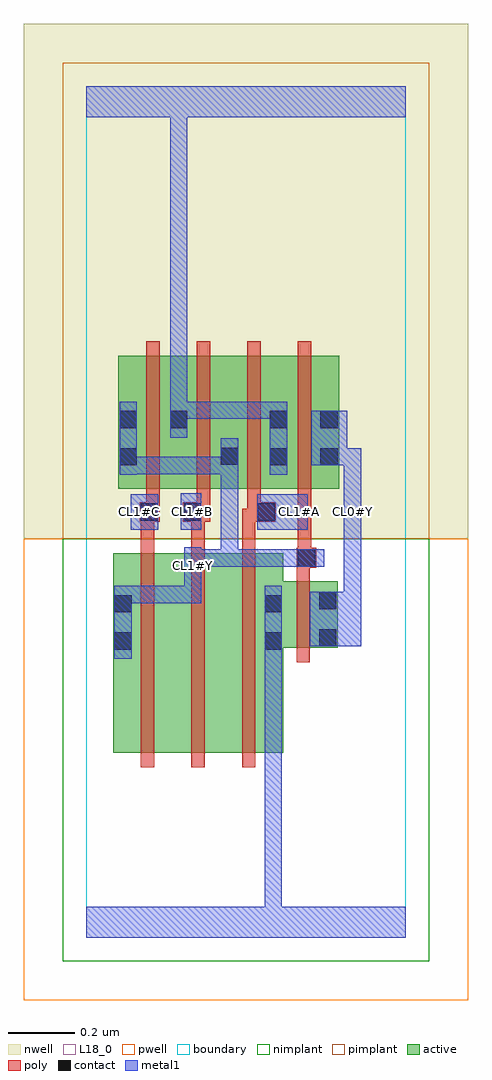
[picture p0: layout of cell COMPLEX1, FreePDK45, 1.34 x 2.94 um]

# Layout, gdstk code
import gdstk
lib = gdstk.Library(unit=1e-6, precision=1e-09)
def R(c, l, rs):  # rectangles x0, y0, x1, y1
    for r in rs: c.add(gdstk.rectangle(r[:2], r[2:], *l))
def A(c, l, x, y, w, h, nx, ny, dx, dy):  # array of equal rectangles
    R(c, l, [(x+i*dx, y+j*dy, x+i*dx+w, y+j*dy+h) for i in range(nx) for j in range(ny)])
active = (1, 0)
pwell = (2, 0)
nwell = (3, 0)
nimplant = (4, 0)
pimplant = (5, 0)
poly = (9, 0)
contact = (10, 0)
metal1 = (11, 0)
L18_0 = (18, 0)
boundary = (235, 0)

complex1 = lib.new_cell('COMPLEX1')
A(complex1, active, 0.096, 1.35, 0.06, 0.294, 3, 1, 0.152, 0)
R(complex1, active, [(0.08,0.556,0.26,1.156), (0.08,0.556,0.14,1.156), (0.26,0.556,0.412,1.156), (0.412,0.556,0.592,1.156), (0.532,0.556,0.592,1.034), (0.532,0.872,0.756,1.072), (0.696,0.872,0.756,1.072), (0.096,1.35,0.308,1.75), (0.248,1.35,0.46,1.75), (0.4,1.35,0.608,1.75), (0.548,1.35,0.608,1.644), (0.548,1.35,0.76,1.75), (0.7,1.35,0.76,1.644)])
R(complex1, pwell, [(-0.188,-0.188,1.148,1.2)])
R(complex1, nwell, [(-0.188,1.2,1.148,2.748)])
R(complex1, nimplant, [(-0.072,-0.072,1.032,1.2)])
R(complex1, pimplant, [(-0.072,1.2,1.032,2.632)])
A(complex1, poly, 0.164, 0.512, 0.04, 0.688, 3, 1, 0.152, 0)
A(complex1, poly, 0.164, 1.16, 0.04, 0.13, 3, 1, 0.152, 0)
A(complex1, poly, 0.18, 1.27, 0.04, 0.076, 3, 1, 0.152, 0)
A(complex1, poly, 0.18, 1.306, 0.04, 0.488, 4, 1, 0.152, 0)
R(complex1, poly, [(0.632,0.828,0.672,1.116), (0.632,1.076,0.672,1.152), (0.632,1.112,0.692,1.172), (0.636,1.132,0.676,1.346), (0.636,1.132,0.676,1.172), (0.636,1.132,0.676,1.172), (0.16,1.25,0.22,1.31), (0.164,1.25,0.204,1.29), (0.164,1.25,0.204,1.29), (0.29,1.25,0.372,1.31), (0.316,1.25,0.356,1.29), (0.316,1.25,0.356,1.29), (0.468,1.25,0.524,1.29), (0.484,1.25,0.524,1.29), (0.484,1.25,0.57,1.31)])
R(complex1, contact, [(0.084,0.866,0.136,0.918), (0.536,0.866,0.588,0.918), (0.7,0.876,0.752,0.928), (0.084,0.978,0.136,1.03), (0.536,0.978,0.588,1.03), (0.7,0.988,0.752,1.04), (0.636,1.116,0.688,1.168), (0.164,1.254,0.216,1.306), (0.294,1.254,0.346,1.306), (0.514,1.254,0.566,1.306), (0.1,1.42,0.152,1.472), (0.552,1.42,0.604,1.472), (0.704,1.42,0.756,1.472), (0.404,1.422,0.456,1.474), (0.1,1.532,0.152,1.584), (0.252,1.532,0.304,1.584), (0.552,1.532,0.604,1.584), (0.704,1.532,0.756,1.584)])
R(complex1, metal1, [(0,0,0.96,0.092), (0.536,0.04,0.588,0.092), (0.536,0.04,0.588,0.092), (0.536,0.04,0.588,0.092), (0.536,0.04,0.588,0.092), (0.536,0.04,0.588,0.092), (0.536,0.04,0.588,0.092), (0.536,0.04,0.588,0.092), (0.536,0.04,0.588,0.092), (0.536,0.04,0.588,0.89), (0.084,0.838,0.136,1.058), (0.536,0.838,0.588,1.058), (0.672,0.876,0.826,1.04), (0.774,0.988,0.826,1.278), (0.084,1.006,0.136,1.058), (0.084,1.006,0.136,1.058), (0.084,1.006,0.346,1.058), (0.294,1.006,0.346,1.058), (0.294,1.006,0.346,1.118), (0.294,1.066,0.346,1.174), (0.294,1.116,0.346,1.168), (0.294,1.116,0.346,1.168), (0.294,1.116,0.456,1.168), (0.404,1.116,0.456,1.168), (0.404,1.116,0.456,1.168), (0.404,1.116,0.456,1.168), (0.404,1.116,0.456,1.168), (0.404,1.116,0.456,1.168), (0.404,1.116,0.614,1.168), (0.404,1.116,0.456,1.446), (0.562,1.116,0.614,1.168), (0.562,1.116,0.66,1.168), (0.608,1.116,0.716,1.168), (0.134,1.226,0.216,1.334), (0.284,1.226,0.346,1.336), (0.514,1.226,0.666,1.334), (0.774,1.226,0.826,1.334), (0.774,1.282,0.826,1.472), (0.1,1.392,0.152,1.612), (0.552,1.392,0.604,1.612), (0.1,1.394,0.152,1.446), (0.1,1.394,0.152,1.446), (0.1,1.394,0.262,1.446), (0.21,1.394,0.262,1.446), (0.21,1.394,0.346,1.446), (0.294,1.394,0.346,1.446), (0.294,1.394,0.456,1.446), (0.404,1.394,0.456,1.502), (0.676,1.42,0.784,1.584), (0.732,1.42,0.784,1.472), (0.732,1.42,0.826,1.472), (0.252,1.504,0.304,1.612), (0.252,1.56,0.304,1.612), (0.252,1.56,0.304,1.612), (0.252,1.56,0.456,1.612), (0.252,1.56,0.304,2.52), (0.404,1.56,0.456,1.612), (0.404,1.56,0.456,1.612), (0.404,1.56,0.456,1.612), (0.404,1.56,0.604,1.612), (0,2.468,0.96,2.56), (0.252,2.468,0.304,2.52), (0.252,2.468,0.304,2.52), (0.252,2.468,0.304,2.52), (0.252,2.468,0.304,2.52), (0.252,2.468,0.304,2.52), (0.252,2.468,0.304,2.52), (0.252,2.468,0.304,2.52), (0.252,2.468,0.304,2.52), (0.252,2.468,0.304,2.52), (0.252,2.468,0.304,2.52), (0.252,2.468,0.304,2.52), (0.252,2.468,0.304,2.52), (0.252,2.468,0.304,2.52), (0.252,2.468,0.304,2.52), (0.252,2.468,0.304,2.52), (0.252,2.468,0.304,2.52)])
R(complex1, L18_0, [(0,0,0.96,0.092), (0.536,0.04,0.588,0.092), (0.536,0.04,0.588,0.092), (0.536,0.04,0.588,0.092), (0.536,0.04,0.588,0.092), (0.536,0.04,0.588,0.092), (0.536,0.04,0.588,0.092), (0.536,0.04,0.588,0.092), (0.536,0.04,0.588,0.092), (0.536,0.04,0.588,0.89), (0.084,0.838,0.136,1.058), (0.536,0.838,0.588,1.058), (0.672,0.876,0.826,1.04), (0.774,0.988,0.826,1.278), (0.084,1.006,0.136,1.058), (0.084,1.006,0.136,1.058), (0.084,1.006,0.346,1.058), (0.294,1.006,0.346,1.058), (0.294,1.006,0.346,1.118), (0.294,1.066,0.346,1.174), (0.294,1.094,0.346,1.146), (0.294,1.116,0.346,1.168), (0.294,1.116,0.346,1.168), (0.294,1.116,0.456,1.168), (0.404,1.116,0.456,1.168), (0.404,1.116,0.456,1.168), (0.404,1.116,0.456,1.168), (0.404,1.116,0.456,1.168), (0.404,1.116,0.456,1.168), (0.404,1.116,0.456,1.446), (0.404,1.116,0.614,1.168), (0.562,1.116,0.614,1.168), (0.562,1.116,0.66,1.168), (0.608,1.116,0.716,1.168), (0.134,1.226,0.216,1.334), (0.284,1.226,0.346,1.336), (0.514,1.226,0.666,1.334), (0.774,1.226,0.826,1.334), (0.134,1.254,0.186,1.306), (0.294,1.254,0.346,1.306), (0.614,1.254,0.666,1.306), (0.774,1.254,0.826,1.306), (0.774,1.282,0.826,1.472), (0.1,1.392,0.152,1.612), (0.552,1.392,0.604,1.612), (0.1,1.394,0.152,1.446), (0.1,1.394,0.152,1.446), (0.1,1.394,0.262,1.446), (0.21,1.394,0.262,1.446), (0.21,1.394,0.346,1.446), (0.294,1.394,0.346,1.446), (0.294,1.394,0.456,1.446), (0.404,1.394,0.456,1.502), (0.676,1.42,0.784,1.584), (0.732,1.42,0.784,1.472), (0.732,1.42,0.826,1.472), (0.252,1.504,0.304,1.612), (0.252,1.56,0.304,1.612), (0.252,1.56,0.304,1.612), (0.252,1.56,0.304,2.52), (0.252,1.56,0.456,1.612), (0.404,1.56,0.456,1.612), (0.404,1.56,0.456,1.612), (0.404,1.56,0.456,1.612), (0.404,1.56,0.604,1.612), (0,2.468,0.96,2.56), (0.252,2.468,0.304,2.52), (0.252,2.468,0.304,2.52), (0.252,2.468,0.304,2.52), (0.252,2.468,0.304,2.52), (0.252,2.468,0.304,2.52), (0.252,2.468,0.304,2.52), (0.252,2.468,0.304,2.52), (0.252,2.468,0.304,2.52), (0.252,2.468,0.304,2.52), (0.252,2.468,0.304,2.52), (0.252,2.468,0.304,2.52), (0.252,2.468,0.304,2.52), (0.252,2.468,0.304,2.52), (0.252,2.468,0.304,2.52), (0.252,2.468,0.304,2.52), (0.252,2.468,0.304,2.52)])
R(complex1, boundary, [(0,0,0.96,2.56)])
complex1.add(gdstk.Label('CL0#Y', (0.8,1.28), layer=11, texttype=0))
complex1.add(gdstk.Label('CL1#A', (0.64,1.28), layer=11, texttype=0))
complex1.add(gdstk.Label('CL1#B', (0.32,1.28), layer=11, texttype=0))
complex1.add(gdstk.Label('CL1#C', (0.16,1.28), layer=11, texttype=0))
complex1.add(gdstk.Label('CL1#Y', (0.32,1.12), layer=11, texttype=0))

lib.write_gds('COMPLEX1.gds')
